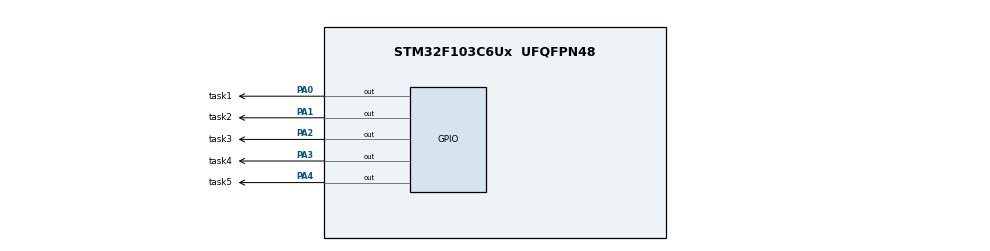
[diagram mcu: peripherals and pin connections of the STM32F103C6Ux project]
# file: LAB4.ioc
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Mcu.Family=STM32F1
Mcu.Name=STM32F103C6Ux
Mcu.Package=UFQFPN48
NVIC.PriorityGroup=NVIC_PRIORITYGROUP_4
NVIC.TIM2_IRQn=true\:0\:0\:false\:false\:true\:true\:true
PA0-WKUP.GPIO_Label=task1
PA0-WKUP.Signal=GPIO_Output
PA1.GPIO_Label=task2
PA1.Signal=GPIO_Output
PA13.Mode=Serial_Wire
PA13.Signal=SYS_JTMS-SWDIO
PA14.Mode=Serial_Wire
PA14.Signal=SYS_JTCK-SWCLK
PA2.GPIO_Label=task3
PA2.Signal=GPIO_Output
PA3.GPIO_Label=task4
PA3.Signal=GPIO_Output
PA4.GPIO_Label=task5
PA4.Signal=GPIO_Output
ProjectManager.HeapSize=0x200
ProjectManager.StackSize=0x400
ProjectManager.TargetToolchain=STM32CubeIDE
RCC.APB1Freq_Value=8000000
RCC.APB2Freq_Value=8000000
TIM2.Period=9
TIM2.Prescaler=7999
VP_TIM2_VS_ClockSourceINT.Mode=Internal
board=custom

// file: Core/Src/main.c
/* USER CODE BEGIN Header */
/**
  ******************************************************************************
  * @file           : main.c
  * @brief          : Main program body
  ******************************************************************************
  * @attention
  *
  * <h2><center>&copy; Copyright (c) 2023 STMicroelectronics.
  * All rights reserved.</center></h2>
  *
  * This software component is licensed by ST under BSD 3-Clause license,
  * the "License"; You may not use this file except in compliance with the
  * License. You may obtain a copy of the License at:
  *                        opensource.org/licenses/BSD-3-Clause
  *
  ******************************************************************************
  */
/* USER CODE END Header */
#include "main.h"

/* USER CODE BEGIN Includes */
#include <string.h>
#include <stdio.h>
#include "softwareTimer.h"
#include "scheduler.h"
/* USER CODE END Includes */

/* USER CODE BEGIN PD */
#define MAX_BUFFER_SIZE 30
#define INIT 0
/* USER CODE END PD */

TIM_HandleTypeDef htim2;

/* USER CODE BEGIN PV */
uint32_t ADC_Value= 0;
uint8_t temp= 0;
uint8_t buffer[MAX_BUFFER_SIZE];
uint8_t index_buffer= 0;
uint8_t buffer_flag= 0;
uint8_t communication_flag= 0;
uint8_t cmd_oke[]= "!OK#";
uint8_t cmd_rst[]= "!RST#";
uint8_t flagRST= 0;
uint8_t flagWait= 0;
uint8_t start= 0;
uint8_t checkCmd[MAX_BUFFER_SIZE];
uint8_t valid= 0;
/* USER CODE END PV */

void SystemClock_Config(void);
static void MX_GPIO_Init(void);
static void MX_TIM2_Init(void);

/* USER CODE BEGIN 0 */
//void HAL_UART_RxCpltCallback(UART_HandleTypeDef * huart )
//{
//	if (huart->Instance== USART2)
//	{
//		buffer[index_buffer++]= temp;
//		if (index_buffer== 30)
//			index_buffer= 0;
//		buffer_flag= 1;
//		HAL_UART_Receive_IT(&huart2, &temp, 1);
//	}
//}
//void command_parser_fsm()
//{
//	switch (temp)
//	{
//		case '!':
//			start= 0;
//			checkCmd[start++]= temp;
//			valid= 1;
//			break;
//		case '#':
//			if (valid== 1)
//			{
//				checkCmd[start++]= temp;
//				checkCmd[start++]= '\0';
//				valid= 0;
//				if (strcmp(checkCmd, cmd_oke)== 0)
//				{
//					flagWait= 0;
//				}
//				else
//				{
//					if (strcmp(checkCmd, cmd_rst)== 0)
//					{
//						flagRST= 1;
//						flagWait= 1;
//					}
//				}
//			}
//			break;
//		default:
//			if (valid== 1)
//			{
//				checkCmd[start++]= temp;
//				if (start== MAX_BUFFER_SIZE)
//					valid= 0;
//			}
//			break;
//	}
//}
//void uart_communication_fsm()
//{
//	if (flagRST== 1)
//	{
//		setTimer(100);
//		ADC_Value= HAL_ADC_GetValue(&hadc1);
//		char first[]= "\r!ADC=";
//		HAL_UART_Transmit(&huart2, (uint8_t*)first, sizeof(first), 1000);
//		char* second;
//		itoa(ADC_Value, second, 10);
//		HAL_UART_Transmit(&huart2, (uint8_t*)second, sizeof(second), 1000);
//		char third[]= "#\r";
//		HAL_UART_Transmit(&huart2, (uint8_t*)third, sizeof(third), 1000);
//		flagRST= 0;
//	}
////	else
////		HAL_UART_Transmit(&huart2, cmd_oke, sizeof(cmd_oke), 100);
//}
/* USER CODE END 0 */

int main(void)
{

  /* MCU Configuration--------------------------------------------------------*/

  /* Reset of all peripherals, Initializes the Flash interface and the Systick. */
  HAL_Init();

  /* Configure the system clock */
  SystemClock_Config();

  /* Initialize all configured peripherals */
  MX_GPIO_Init();
  MX_TIM2_Init();
  /* USER CODE BEGIN 2 */
//  HAL_ADC_Start(&hadc1);
//  HAL_UART_Receive_IT(&huart2, &temp, 1);
  HAL_TIM_Base_Start_IT(&htim2);
  /* USER CODE END 2 */

  /* Infinite loop */
  /* USER CODE BEGIN WHILE */
  SCH_Init();
  SCH_Add_Task(task1, 1, 50, 1);
  SCH_Add_Task(task3, 3, 150, 3);
  SCH_Add_Task(task2, 2, 100, 2);
  SCH_Add_Task(task4, 4, 200, 4);
  SCH_Add_Task(task5, 5, 250, 5);
  while (1)
  {
	  SCH_Dispatch_Task();
    /* USER CODE END WHILE */

  }
}

void SystemClock_Config(void)
{
  RCC_OscInitTypeDef RCC_OscInitStruct = {0};
  RCC_ClkInitTypeDef RCC_ClkInitStruct = {0};

  /** Initializes the RCC Oscillators according to the specified parameters
  * in the RCC_OscInitTypeDef structure.
  */
  RCC_OscInitStruct.OscillatorType = RCC_OSCILLATORTYPE_HSI;
  RCC_OscInitStruct.HSIState = RCC_HSI_ON;
  RCC_OscInitStruct.HSICalibrationValue = RCC_HSICALIBRATION_DEFAULT;
  RCC_OscInitStruct.PLL.PLLState = RCC_PLL_NONE;
  if (HAL_RCC_OscConfig(&RCC_OscInitStruct) != HAL_OK)
  {
    Error_Handler();
  }
  /** Initializes the CPU, AHB and APB buses clocks
  */
  RCC_ClkInitStruct.ClockType = RCC_CLOCKTYPE_HCLK|RCC_CLOCKTYPE_SYSCLK
                              |RCC_CLOCKTYPE_PCLK1|RCC_CLOCKTYPE_PCLK2;
  RCC_ClkInitStruct.SYSCLKSource = RCC_SYSCLKSOURCE_HSI;
  RCC_ClkInitStruct.AHBCLKDivider = RCC_SYSCLK_DIV1;
  RCC_ClkInitStruct.APB1CLKDivider = RCC_HCLK_DIV1;
  RCC_ClkInitStruct.APB2CLKDivider = RCC_HCLK_DIV1;

  if (HAL_RCC_ClockConfig(&RCC_ClkInitStruct, FLASH_LATENCY_0) != HAL_OK)
  {
    Error_Handler();
  }
}

static void MX_TIM2_Init(void)
{

  TIM_ClockConfigTypeDef sClockSourceConfig = {0};
  TIM_MasterConfigTypeDef sMasterConfig = {0};

  htim2.Instance = TIM2;
  htim2.Init.Prescaler = 7999;
  htim2.Init.CounterMode = TIM_COUNTERMODE_UP;
  htim2.Init.Period = 9;
  htim2.Init.ClockDivision = TIM_CLOCKDIVISION_DIV1;
  htim2.Init.AutoReloadPreload = TIM_AUTORELOAD_PRELOAD_DISABLE;
  if (HAL_TIM_Base_Init(&htim2) != HAL_OK)
  {
    Error_Handler();
  }
  sClockSourceConfig.ClockSource = TIM_CLOCKSOURCE_INTERNAL;
  if (HAL_TIM_ConfigClockSource(&htim2, &sClockSourceConfig) != HAL_OK)
  {
    Error_Handler();
  }
  sMasterConfig.MasterOutputTrigger = TIM_TRGO_RESET;
  sMasterConfig.MasterSlaveMode = TIM_MASTERSLAVEMODE_DISABLE;
  if (HAL_TIMEx_MasterConfigSynchronization(&htim2, &sMasterConfig) != HAL_OK)
  {
    Error_Handler();
  }

}

static void MX_GPIO_Init(void)
{
  GPIO_InitTypeDef GPIO_InitStruct = {0};

  /* GPIO Ports Clock Enable */
  __HAL_RCC_GPIOA_CLK_ENABLE();

  /*Configure GPIO pin Output Level */
  HAL_GPIO_WritePin(GPIOA, task1_Pin|task2_Pin|task3_Pin|task4_Pin
                          |task5_Pin, GPIO_PIN_RESET);

  /*Configure GPIO pins : task1_Pin task2_Pin task3_Pin task4_Pin
                           task5_Pin */
  GPIO_InitStruct.Pin = task1_Pin|task2_Pin|task3_Pin|task4_Pin
                          |task5_Pin;
  GPIO_InitStruct.Mode = GPIO_MODE_OUTPUT_PP;
  GPIO_InitStruct.Pull = GPIO_NOPULL;
  GPIO_InitStruct.Speed = GPIO_SPEED_FREQ_LOW;
  HAL_GPIO_Init(GPIOA, &GPIO_InitStruct);

}

/* USER CODE BEGIN 4 */
void HAL_TIM_PeriodElapsedCallback(TIM_HandleTypeDef *htim)
{
//	runTimer();
	SCH_Update();
}
/* USER CODE END 4 */

void Error_Handler(void)
{
  __disable_irq();
  while (1)
  {
  }
}

/************************ (C) COPYRIGHT STMicroelectronics *****END OF FILE****/
